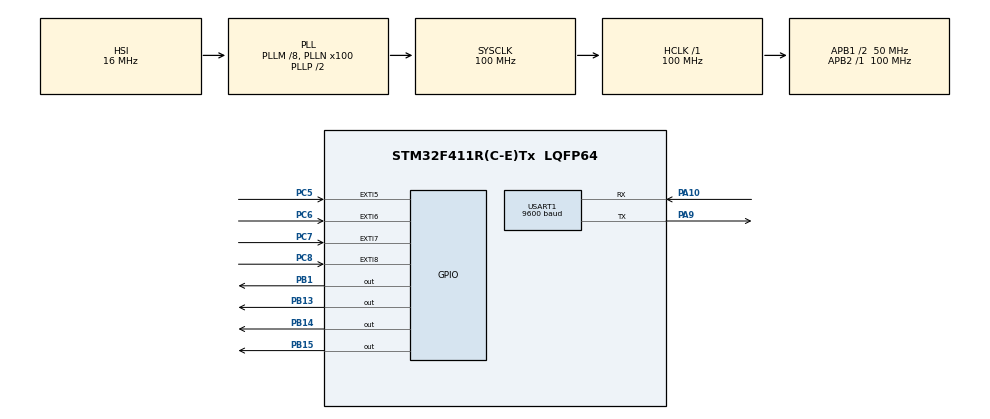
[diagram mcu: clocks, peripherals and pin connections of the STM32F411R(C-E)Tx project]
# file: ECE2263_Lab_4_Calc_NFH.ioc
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Mcu.Family=STM32F4
Mcu.Name=STM32F411R(C-E)Tx
Mcu.Package=LQFP64
NVIC.EXTI9_5_IRQn=true\:0\:0\:false\:false\:true\:true\:true
NVIC.PriorityGroup=NVIC_PRIORITYGROUP_0
NVIC.TIM3_IRQn=true\:0\:0\:false\:false\:true\:true\:true
PA10.Mode=Asynchronous
PA10.Signal=USART1_RX
PA13.GPIO_Label=TMS
PA13.Mode=Serial_Wire
PA13.Signal=SYS_JTMS-SWDIO
PA14.GPIO_Label=TCK
PA14.Mode=Serial_Wire
PA14.Signal=SYS_JTCK-SWCLK
PA9.Mode=Asynchronous
PA9.Signal=USART1_TX
PB1.GPIO_PuPd=GPIO_PULLDOWN
PB1.Signal=GPIO_Output
PB13.GPIO_PuPd=GPIO_PULLDOWN
PB13.Signal=GPIO_Output
PB14.GPIO_PuPd=GPIO_PULLDOWN
PB14.Signal=GPIO_Output
PB15.GPIO_PuPd=GPIO_PULLDOWN
PB15.Signal=GPIO_Output
PC5.GPIO_ModeDefaultEXTI=GPIO_MODE_IT_FALLING
PC5.GPIO_PuPd=GPIO_PULLUP
PC5.Signal=GPXTI5
PC6.GPIO_ModeDefaultEXTI=GPIO_MODE_IT_FALLING
PC6.GPIO_PuPd=GPIO_PULLUP
PC6.Signal=GPXTI6
PC7.GPIO_ModeDefaultEXTI=GPIO_MODE_IT_FALLING
PC7.GPIO_PuPd=GPIO_PULLUP
PC7.Signal=GPXTI7
PC8.GPIO_ModeDefaultEXTI=GPIO_MODE_IT_FALLING
PC8.GPIO_PuPd=GPIO_PULLUP
PC8.Signal=GPXTI8
ProjectManager.HeapSize=0x200
ProjectManager.StackSize=0x400
ProjectManager.TargetToolchain=STM32CubeIDE
RCC.48MHZClocksFreq_Value=50000000
RCC.AHBFreq_Value=100000000
RCC.APB1CLKDivider=RCC_HCLK_DIV2
RCC.APB1Freq_Value=50000000
RCC.APB1TimFreq_Value=100000000
RCC.APB2Freq_Value=100000000
RCC.APB2TimFreq_Value=100000000
RCC.CortexFreq_Value=100000000
RCC.FLatency-AdvancedSettings=FLASH_LATENCY_3
RCC.HCLKFreq_Value=100000000
RCC.HSE_VALUE=8000000
RCC.HSI_VALUE=16000000
RCC.LSE_VALUE=32768
RCC.PLLM=8
RCC.PLLN=100
RCC.SYSCLKFreq_VALUE=100000000
RCC.SYSCLKSource=RCC_SYSCLKSOURCE_PLLCLK
RCC.VCOOutputFreq_Value=200000000
USART1.BaudRate=9600
USART1.VirtualMode=VM_ASYNC
VP_TIM3_VS_ClockSourceINT.Mode=Internal
board=NUCLEO-F411RE

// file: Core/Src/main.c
/* USER CODE BEGIN Header */
/**
  ******************************************************************************
  * @file           : main.c
  * @brief          : Main program body
  ******************************************************************************
  * @attention
  *
  * <h2><center>&copy; Copyright (c) 2020 STMicroelectronics.
  * All rights reserved.</center></h2>
  *
  * This software component is licensed by ST under BSD 3-Clause license,
  * the "License"; You may not use this file except in compliance with the
  * License. You may obtain a copy of the License at:
  *                        opensource.org/licenses/BSD-3-Clause
  *
  ******************************************************************************
  */
/* USER CODE END Header */
#include "main.h"

/* USER CODE BEGIN Includes */
#include "string.h"
#include "stdlib.h"
#include "stdbool.h"
#include "stdio.h"
#include "memory.h"
#include "stdint.h"
#include "stm32f4xx_hal_rcc.h"
#include "stm32f4xx_hal.h"
#include "stm32f4xx_hal_exti.h"
#include "stm32f4xx_hal_flash_ex.h"
#include "stm32f4xx_hal_flash.h"
#include "stm32f4xx_hal_gpio.h"

/* USER CODE END Includes */

TIM_HandleTypeDef htim3;

UART_HandleTypeDef huart1;

/* USER CODE BEGIN PV */
char keyChar = 0;
uint16_t key = 0;
/* USER CODE END PV */

void SystemClock_Config(void);
static void MX_GPIO_Init(void);
static void MX_USART1_UART_Init(void);
static void MX_TIM3_Init(void);
/* USER CODE BEGIN PFP */
void screenClear(void);
uint16_t keyPadScan(void);
/* USER CODE END PFP */

int main(void)
{

  /* MCU Configuration--------------------------------------------------------*/

  /* Reset of all peripherals, Initializes the Flash interface and the Systick. */
  HAL_Init();

  /* Configure the system clock */
  SystemClock_Config();

  /* Initialize all configured peripherals */
  MX_GPIO_Init();
  MX_USART1_UART_Init();
  MX_TIM3_Init();
  /* USER CODE BEGIN 2 */

  char sendMessage[]="send message\r\n";
  char newLine[]="\r\n";

  screenClear();

  HAL_GPIO_WritePin(GPIOB, GPIO_PIN_1|GPIO_PIN_13|GPIO_PIN_14|GPIO_PIN_15, GPIO_PIN_RESET);

  /* USER CODE END 2 */

  /* Infinite loop */
  /* USER CODE BEGIN WHILE */
  while (1)
  {

	 // key = keyPadScan();
	  if(keyChar != 0){
		  HAL_Delay(100);
		  keyChar = 0;

	  }
    /* USER CODE END WHILE */

  }
}

void SystemClock_Config(void)
{
  RCC_OscInitTypeDef RCC_OscInitStruct = {0};
  RCC_ClkInitTypeDef RCC_ClkInitStruct = {0};

  /** Configure the main internal regulator output voltage
  */
  __HAL_RCC_PWR_CLK_ENABLE();
  __HAL_PWR_VOLTAGESCALING_CONFIG(PWR_REGULATOR_VOLTAGE_SCALE1);
  /** Initializes the RCC Oscillators according to the specified parameters
  * in the RCC_OscInitTypeDef structure.
  */
  RCC_OscInitStruct.OscillatorType = RCC_OSCILLATORTYPE_HSI;
  RCC_OscInitStruct.HSIState = RCC_HSI_ON;
  RCC_OscInitStruct.HSICalibrationValue = RCC_HSICALIBRATION_DEFAULT;
  RCC_OscInitStruct.PLL.PLLState = RCC_PLL_ON;
  RCC_OscInitStruct.PLL.PLLSource = RCC_PLLSOURCE_HSI;
  RCC_OscInitStruct.PLL.PLLM = 8;
  RCC_OscInitStruct.PLL.PLLN = 100;
  RCC_OscInitStruct.PLL.PLLP = RCC_PLLP_DIV2;
  RCC_OscInitStruct.PLL.PLLQ = 4;
  if (HAL_RCC_OscConfig(&RCC_OscInitStruct) != HAL_OK)
  {
    Error_Handler();
  }
  /** Initializes the CPU, AHB and APB buses clocks
  */
  RCC_ClkInitStruct.ClockType = RCC_CLOCKTYPE_HCLK|RCC_CLOCKTYPE_SYSCLK
                              |RCC_CLOCKTYPE_PCLK1|RCC_CLOCKTYPE_PCLK2;
  RCC_ClkInitStruct.SYSCLKSource = RCC_SYSCLKSOURCE_PLLCLK;
  RCC_ClkInitStruct.AHBCLKDivider = RCC_SYSCLK_DIV1;
  RCC_ClkInitStruct.APB1CLKDivider = RCC_HCLK_DIV2;
  RCC_ClkInitStruct.APB2CLKDivider = RCC_HCLK_DIV1;

  if (HAL_RCC_ClockConfig(&RCC_ClkInitStruct, FLASH_LATENCY_3) != HAL_OK)
  {
    Error_Handler();
  }
}

static void MX_TIM3_Init(void)
{

  TIM_ClockConfigTypeDef sClockSourceConfig = {0};
  TIM_MasterConfigTypeDef sMasterConfig = {0};

  htim3.Instance = TIM3;
  htim3.Init.Prescaler = 0;
  htim3.Init.CounterMode = TIM_COUNTERMODE_UP;
  htim3.Init.Period = 65535;
  htim3.Init.ClockDivision = TIM_CLOCKDIVISION_DIV1;
  htim3.Init.AutoReloadPreload = TIM_AUTORELOAD_PRELOAD_DISABLE;
  if (HAL_TIM_Base_Init(&htim3) != HAL_OK)
  {
    Error_Handler();
  }
  sClockSourceConfig.ClockSource = TIM_CLOCKSOURCE_INTERNAL;
  if (HAL_TIM_ConfigClockSource(&htim3, &sClockSourceConfig) != HAL_OK)
  {
    Error_Handler();
  }
  sMasterConfig.MasterOutputTrigger = TIM_TRGO_RESET;
  sMasterConfig.MasterSlaveMode = TIM_MASTERSLAVEMODE_DISABLE;
  if (HAL_TIMEx_MasterConfigSynchronization(&htim3, &sMasterConfig) != HAL_OK)
  {
    Error_Handler();
  }

}

static void MX_USART1_UART_Init(void)
{

  huart1.Instance = USART1;
  huart1.Init.BaudRate = 9600;
  huart1.Init.WordLength = UART_WORDLENGTH_8B;
  huart1.Init.StopBits = UART_STOPBITS_1;
  huart1.Init.Parity = UART_PARITY_NONE;
  huart1.Init.Mode = UART_MODE_TX_RX;
  huart1.Init.HwFlowCtl = UART_HWCONTROL_NONE;
  huart1.Init.OverSampling = UART_OVERSAMPLING_16;
  if (HAL_UART_Init(&huart1) != HAL_OK)
  {
    Error_Handler();
  }

}

static void MX_GPIO_Init(void)
{
  GPIO_InitTypeDef GPIO_InitStruct = {0};

  /* GPIO Ports Clock Enable */
  __HAL_RCC_GPIOC_CLK_ENABLE();
  __HAL_RCC_GPIOB_CLK_ENABLE();
  __HAL_RCC_GPIOA_CLK_ENABLE();

  /*Configure GPIO pin Output Level */
  HAL_GPIO_WritePin(GPIOB, GPIO_PIN_1|GPIO_PIN_13|GPIO_PIN_14|GPIO_PIN_15, GPIO_PIN_RESET);

  /*Configure GPIO pins : PC5 PC6 PC7 PC8 */
  GPIO_InitStruct.Pin = GPIO_PIN_5|GPIO_PIN_6|GPIO_PIN_7|GPIO_PIN_8;
  GPIO_InitStruct.Mode = GPIO_MODE_IT_FALLING;
  GPIO_InitStruct.Pull = GPIO_PULLUP;
  HAL_GPIO_Init(GPIOC, &GPIO_InitStruct);

  /*Configure GPIO pins : PB1 PB13 PB14 PB15 */
  GPIO_InitStruct.Pin = GPIO_PIN_1|GPIO_PIN_13|GPIO_PIN_14|GPIO_PIN_15;
  GPIO_InitStruct.Mode = GPIO_MODE_OUTPUT_PP;
  GPIO_InitStruct.Pull = GPIO_PULLDOWN;
  GPIO_InitStruct.Speed = GPIO_SPEED_FREQ_LOW;
  HAL_GPIO_Init(GPIOB, &GPIO_InitStruct);

  /* EXTI interrupt init*/
  HAL_NVIC_SetPriority(EXTI9_5_IRQn, 0, 0);
  HAL_NVIC_EnableIRQ(EXTI9_5_IRQn);

}

/* USER CODE BEGIN 4 */
void screenClear(void){
	uint8_t clearInstruction[]={0x7C, 0x2D};
	HAL_UART_Transmit(&huart1, (uint8_t *) clearInstruction, sizeof(clearInstruction), HAL_MAX_DELAY);

}

uint16_t keyPadScan(void){

	return 0;

}
/* USER CODE END 4 */

void Error_Handler(void)
{
}

/************************ (C) COPYRIGHT STMicroelectronics *****END OF FILE****/
